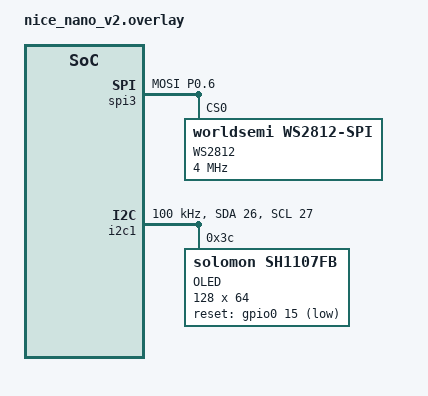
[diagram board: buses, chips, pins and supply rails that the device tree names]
#include <dt-bindings/led/led.h>

&pinctrl {
    spi3_default: spi3_default {
        group1 {
            psels = <NRF_PSEL(SPIM_MOSI, 0, 6)>;
        };
    };
    spi3_sleep: spi3_sleep {
        group1 {
            psels = <NRF_PSEL(SPIM_MOSI, 0, 6)>;
            low-power-enable;
        };
    };
};

&spi3 {
  compatible = "nordic,nrf-spim";
  status = "okay";
  pinctrl-0 = <&spi3_default>;
  pinctrl-1 = <&spi3_sleep>;
  pinctrl-names = "default", "sleep";

  led_strip: ws2812@0 {
    compatible = "worldsemi,ws2812-spi";
    label = "WS2812";
    /* SPI */
    reg = <0>; /* ignored, but necessary for SPI bindings */
    spi-max-frequency = <4000000>;
    /* WS2812 */
    chain-length = <36>; /* number of LEDs */
    spi-one-frame = <0x70>;
    spi-zero-frame = <0x40>;
    color-mapping = <LED_COLOR_ID_GREEN
                          LED_COLOR_ID_RED
                          LED_COLOR_ID_BLUE>;
  };
};

&i2c1 {
    compatible = "nordic,nrf-twim";
    status = "okay";
    sda-pin = <26>; /* Adjust as per your wiring */
    scl-pin = <27>; /* Adjust as per your wiring */
    clock-frequency = <I2C_BITRATE_STANDARD>;

    oled_display: oled@3c {
        compatible = "solomon,sh1107fb";
        reg = <0x3c>;
        label = "OLED";
        width = <128>;
        height = <64>;
        segment-offset = <0>;
        page-offset = <0>;
        reset-gpios = <&gpio0 15 GPIO_ACTIVE_LOW>; /* Adjust as needed */
    };
};

/ {
    chosen {
        zmk,underglow = &led_strip;
        zmk,display = &oled_display;
    };
};
